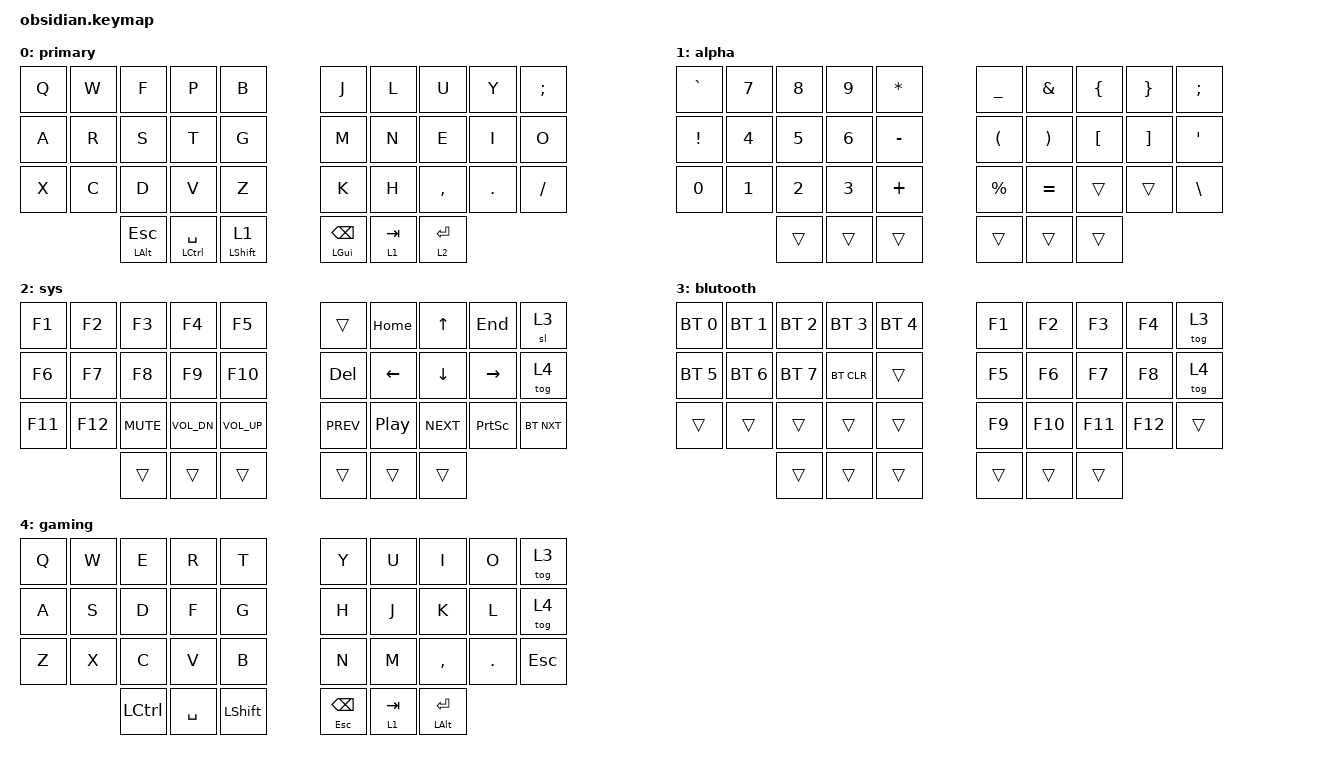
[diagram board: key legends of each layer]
/*
 * Copyright (c) 2020 The ZMK Contributors
 *
 * SPDX-License-Identifier: MIT
 */

#include <behaviors.dtsi>
#include <dt-bindings/zmk/keys.h>
#include <dt-bindings/zmk/bt.h>

&mt {
    tapping-term-ms = <150>;
    quick-tap-ms = <200>;
    flavor = "tap-preferred";
};

/* &sk { */
/*     release-after-ms = <2000>; */
/*     quick-release; */
/* }; */

/ { 
    combos {
        compatible = "zmk,combos";
        combo_bt_clr {
            timeout-ms = <100>;
            key-positions = <0 4>;  // Q + SEMI (upper left + upper right corners)
            bindings = <&bt BT_CLR>;
        };
    };

    /* macros { */
    /*     // Tap macros with minimum hold duration for game compatibility */
    /*     tap_esc: tap_esc { */
    /*         compatible = "zmk,behavior-macro"; */
    /*         #binding-cells = <0>; */
    /*         wait-ms = <30>; */
    /*         tap-ms = <30>; */
    /*         bindings = <&kp ESC>; */
    /*     }; */
    /*     tap_space: tap_space { */
    /*         compatible = "zmk,behavior-macro"; */
    /*         #binding-cells = <0>; */
    /*         wait-ms = <30>; */
    /*         tap-ms = <30>; */
    /*         bindings = <&kp SPACE>; */
    /*     }; */
    /*     tap_tab: tap_tab { */
    /*         compatible = "zmk,behavior-macro"; */
    /*         #binding-cells = <0>; */
    /*         wait-ms = <30>; */
    /*         tap-ms = <30>; */
    /*         bindings = <&kp TAB>; */
    /*     }; */
    /*     tap_ret: tap_ret { */
    /*         compatible = "zmk,behavior-macro"; */
    /*         #binding-cells = <0>; */
    /*         wait-ms = <30>; */
    /*         tap-ms = <30>; */
    /*         bindings = <&kp RET>; */
    /*     }; */
    /*     tap_bspc: tap_bspc { */
    /*         compatible = "zmk,behavior-macro"; */
    /*         #binding-cells = <0>; */
    /*         wait-ms = <30>; */
    /*         tap-ms = <30>; */
    /*         bindings = <&kp BSPC>; */
    /*     }; */
    /* }; */

    behaviors {
        mlt: mod-layer-tap {
            label = "Mod Layer Tap";
            compatible = "zmk,behavior-hold-tap";
            #binding-cells = <2>;
            flavor = "tap-preferred";
            tapping-term-ms = <100>;
            global-quick-tap;
            bindings = <&kp>, <&sl>;
        };

        /* // Hold-tap with extended tap duration for gaming */
        /* mt_esc: mod_tap_esc { */
        /*     compatible = "zmk,behavior-hold-tap"; */
        /*     #binding-cells = <2>; */
        /*     flavor = "balanced"; */
        /*     tapping-term-ms = <100>; */
        /*     quick-tap-ms = <200>; */
        /*     bindings = <&kp>, <&tap_esc>; */
        /* }; */
        /* mt_space: mod_tap_space { */
        /*     compatible = "zmk,behavior-hold-tap"; */
        /*     #binding-cells = <2>; */
        /*     flavor = "balanced"; */
        /*     tapping-term-ms = <100>; */
        /*     quick-tap-ms = <200>; */
        /*     bindings = <&kp>, <&tap_space>; */
        /* }; */
        /* mt_tab: mod_tap_tab { */
        /*     compatible = "zmk,behavior-hold-tap"; */
        /*     #binding-cells = <2>; */
        /*     flavor = "balanced"; */
        /*     tapping-term-ms = <100>; */
        /*     quick-tap-ms = <200>; */
        /*     bindings = <&kp>, <&tap_tab>; */
        /* }; */
        /* mt_ret: mod_tap_ret { */
        /*     compatible = "zmk,behavior-hold-tap"; */
        /*     #binding-cells = <2>; */
        /*     flavor = "balanced"; */
        /*     tapping-term-ms = <100>; */
        /*     quick-tap-ms = <200>; */
        /*     bindings = <&kp>, <&tap_ret>; */
        /* }; */
        /* mt_bspc: mod_tap_bspc { */
        /*     compatible = "zmk,behavior-hold-tap"; */
        /*     #binding-cells = <2>; */
        /*     flavor = "balanced"; */
        /*     tapping-term-ms = <100>; */
        /*     quick-tap-ms = <200>; */
        /*     bindings = <&kp>, <&tap_bspc>; */
        /* }; */
        /* lt_tab: layer_tap_tab { */
        /*     compatible = "zmk,behavior-hold-tap"; */
        /*     #binding-cells = <2>; */
        /*     flavor = "balanced"; */
        /*     tapping-term-ms = <100>; */
        /*     quick-tap-ms = <200>; */
        /*     bindings = <&mo>, <&tap_tab>; */
        /* }; */
        /* lt_ret: layer_tap_ret { */
        /*     compatible = "zmk,behavior-hold-tap"; */
        /*     #binding-cells = <2>; */
        /*     flavor = "balanced"; */
        /*     tapping-term-ms = <100>; */
        /*     quick-tap-ms = <200>; */
        /*     bindings = <&mo>, <&tap_ret>; */
        /* }; */
    };

    keymap {
        compatible = "zmk,keymap";

        primary {
            bindings = <
                   &kp Q    &kp W     &kp F   &kp P    &kp B                 &kp J    &kp L &kp U     &kp Y      &kp SEMI
                   &kp A    &kp R     &kp S   &kp T    &kp G                 &kp M    &kp N &kp E     &kp I      &kp O
                   &kp X    &kp C     &kp D   &kp V    &kp Z                 &kp K    &kp H &kp COMMA &kp PERIOD &kp SLASH

                   &mt LALT ESC &mt LCTRL SPACE &mlt LSHIFT 1                  &mt LGUI BSPC &lt 1 TAB &lt 2 RET

                >;

        };
            
        alpha {
        bindings = <
            &kp GRAVE &kp N7 &kp N8  &kp N9 &kp STAR                       &kp UNDERSCORE &kp AMPERSAND  &kp LBRC       &kp RBRC  &kp SEMI  
            &kp EXCL  &kp N4 &kp N5  &kp N6 &kp MINUS                      &kp LPAR       &kp RPAR       &kp LBKT       &kp RBKT  &kp APOS     
            &kp N0    &kp N1 &kp N2  &kp N3 &kp PLUS                       &kp PERCENT    &kp EQUAL      &trans         &trans    &kp BACKSLASH
                             &trans  &trans &trans                         &trans         &trans         &trans
            >;
        };

        sys {
        bindings = <
            &kp F1  &kp F2  &kp F3     &kp F4       &kp F5                     &trans     &kp HOME   &kp UP     &kp END    &sl 3
            &kp F6  &kp F7  &kp F8     &kp F9       &kp F10                    &kp DEL    &kp LEFT   &kp DOWN   &kp RIGHT  &tog 4
            &kp F11 &kp F12 &kp C_MUTE &kp C_VOL_DN &kp C_VOL_UP               &kp C_PREV &kp C_PP   &kp C_NEXT &kp PSCRN  &bt BT_NXT
                            &trans     &trans       &trans                     &trans     &trans     &trans
            >;
        };
        
        blutooth {
        bindings = <
            &bt BT_SEL 0 &bt BT_SEL 1 &bt BT_SEL 2 &bt BT_SEL 3 &bt BT_SEL 4   &kp F1  &kp F2  &kp F3  &kp F4  &tog 3
            &bt BT_SEL 5 &bt BT_SEL 6 &bt BT_SEL 7 &bt BT_CLR   &trans         &kp F5  &kp F6  &kp F7  &kp F8  &tog 4
            &trans       &trans       &trans       &trans       &trans         &kp F9  &kp F10 &kp F11 &kp F12 &trans
                                      &trans       &trans       &trans         &trans  &trans  &trans
            >;
        };

        gaming {
            bindings = <
                   &kp Q    &kp W     &kp E   &kp R    &kp T                 &kp Y    &kp U &kp I     &kp O      &tog 3
                   &kp A    &kp S     &kp D   &kp F    &kp G                 &kp H    &kp J &kp K     &kp L      &tog 4
                   &kp Z    &kp X     &kp C   &kp V    &kp B                 &kp N    &kp M &kp COMMA &kp PERIOD &kp ESC

                   &kp LCTRL &kp SPACE &kp LSHIFT                          &mt ESC BSPC &lt 1 TAB &mt LALT RET

                >;
        };
    };
    
};
